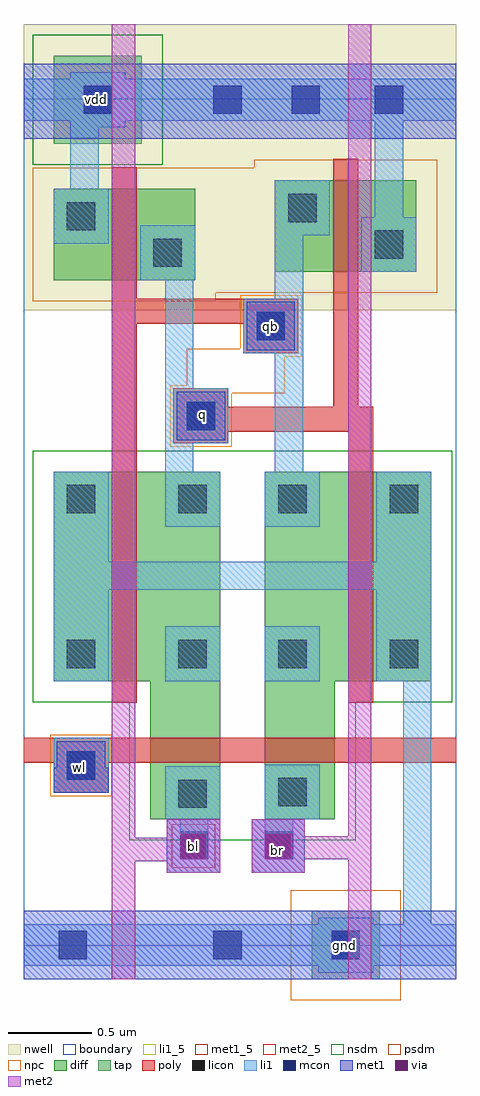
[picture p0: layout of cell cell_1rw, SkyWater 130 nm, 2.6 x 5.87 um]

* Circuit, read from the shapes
.subckt cell_1rw bl br gnd q qb vdd wl
XM1 q qb gnd gnd sky130_fd_pr__nfet_01v8 w=1.26 l=0.15
XM2 q wl bl gnd sky130_fd_pr__nfet_01v8 w=0.42 l=0.15
XM3 qb wl br gnd sky130_fd_pr__nfet_01v8 w=0.42 l=0.15
XM4 gnd q qb gnd sky130_fd_pr__nfet_01v8 w=1.26 l=0.15
XM5 q qb vdd vdd sky130_fd_pr__pfet_01v8 w=0.55 l=0.15
XM6 vdd q qb vdd sky130_fd_pr__pfet_01v8 w=0.55 l=0.15
.ends

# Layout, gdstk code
import gdstk
lib = gdstk.Library(unit=1e-6, precision=1e-09)
def R(c, l, rs):  # rectangles x0, y0, x1, y1
    for r in rs: c.add(gdstk.rectangle(r[:2], r[2:], *l))
nwell = (64, 20)
diff = (65, 20)
tap = (65, 44)
poly = (66, 20)
licon = (66, 44)
li1_5 = (67, 5)
li1 = (67, 20)
mcon = (67, 44)
met1_5 = (68, 5)
met1 = (68, 20)
via = (68, 44)
met2_5 = (69, 5)
met2 = (69, 20)
nsdm = (93, 44)
psdm = (94, 20)
npc = (95, 20)
boundary = (235, 4)

cell_1rw = lib.new_cell('cell_1rw')
R(cell_1rw, nwell, [(0,3.82,2.6,5.54)])
R(cell_1rw, diff, [(0.76,0.76,1.18,1.59), (1.45,0.76,1.87,1.59), (0.18,1.59,1.18,2.85), (1.45,1.59,2.45,2.85), (0.18,4,1.03,4.55), (1.51,4.05,2.36,4.6)])
R(cell_1rw, tap, [(1.73,-0.2,2.14,0.21), (0.18,4.82,0.71,5.35)])
R(cell_1rw, poly, [(0.18,0.92,0.51,1.1), (0,1.1,2.6,1.25), (0.53,1.46,0.68,3.74), (1.95,1.46,2.1,3.09), (0.9,3.02,1.23,3.09), (0.9,3.09,2.1,3.24), (0.9,3.24,1.23,3.35), (1.86,3.24,2.01,4.73), (1.32,3.56,1.65,3.74), (0.53,3.74,1.65,3.89), (0.53,3.89,0.68,4.68)])
R(cell_1rw, licon, [(1.85,-0.08,2.02,0.09), (0.93,0.83,1.1,1), (1.53,0.84,1.7,1.01), (0.26,1,0.43,1.17), (0.26,1.67,0.43,1.84), (0.93,1.67,1.1,1.84), (1.53,1.67,1.7,1.84), (2.2,1.67,2.37,1.84), (0.26,2.6,0.43,2.77), (0.93,2.6,1.1,2.77), (1.53,2.6,1.7,2.77), (2.2,2.6,2.37,2.77), (0.98,3.1,1.15,3.27), (1.4,3.64,1.57,3.81), (0.78,4.08,0.95,4.25), (2.11,4.13,2.28,4.3), (0.26,4.3,0.43,4.47), (1.59,4.35,1.76,4.52), (0.36,5,0.53,5.17)])
R(cell_1rw, li1_5, [(1.02,3.14,1.13,3.25), (1.43,3.67,1.54,3.78)])
R(cell_1rw, li1, [(1.77,-0.16,2.1,-0.12), (0,-0.12,2.6,0.13), (1.77,0.13,2.1,0.17), (2.28,0.13,2.45,1.59), (0.94,0.52,1.11,0.76), (1.45,0.52,1.62,0.76), (0.85,0.76,1.18,1.08), (1.45,0.76,1.78,1.09), (0.18,0.92,0.51,1.25), (0.18,1.59,0.51,2.14), (0.85,1.59,1.18,1.92), (1.45,1.59,1.78,1.92), (2.12,1.59,2.45,2.14), (0.18,2.14,2.45,2.31), (0.18,2.31,0.51,2.85), (2.12,2.31,2.45,2.85), (0.85,2.52,1.18,2.85), (1.45,2.52,1.78,2.85), (0.85,2.85,1.02,3.02), (1.51,2.85,1.68,3.56), (0.85,3.02,1.23,3.35), (0.85,3.35,1.02,4), (1.32,3.56,1.68,3.89), (1.51,3.89,1.68,4.27), (0.7,4,1.03,4.33), (2.03,4.05,2.36,4.38), (0.18,4.22,0.51,4.55), (1.51,4.27,1.84,4.6), (2.11,4.38,2.28,4.96), (0.28,4.55,0.45,4.92), (0.28,4.92,0.61,4.96), (0,4.96,2.6,5.21), (0.28,5.21,0.61,5.25)])
R(cell_1rw, mcon, [(0.21,-0.08,0.38,0.09), (1.14,-0.08,1.31,0.09), (1.85,-0.08,2.02,0.09), (0.94,0.52,1.11,0.69), (1.45,0.52,1.62,0.69), (0.26,1,0.43,1.17), (0.98,3.1,1.15,3.27), (1.4,3.64,1.57,3.81), (0.36,5,0.53,5.17), (1.14,5,1.31,5.17), (1.61,5,1.78,5.17), (2.11,5,2.28,5.17)])
R(cell_1rw, met1_5, [(1.87,-0.05,1.98,0.06), (0.28,1.02,0.39,1.13), (0.38,5.03,0.49,5.14)])
R(cell_1rw, met1, [(0,-0.2,2.6,0.21), (0.86,0.44,1.18,0.76), (1.37,0.44,1.69,0.76), (0.18,0.92,0.51,1.07), (0.2,1.07,0.49,1.23), (0.92,3.04,1.21,3.33), (1.34,3.58,1.63,3.87), (0,4.85,2.6,5.3)])
R(cell_1rw, via, [(0.945,0.525,1.095,0.675), (1.455,0.525,1.605,0.675)])
R(cell_1rw, met2_5, [(0.89,0.47,1.15,0.73), (1.47,0.52,1.58,0.63)])
R(cell_1rw, met2, [(0.53,-0.2,0.67,0.51), (1.95,-0.2,2.09,0.52), (0.86,0.44,1.18,0.51), (1.37,0.44,1.69,0.52), (0.53,0.51,1.18,0.65), (1.37,0.52,2.09,0.66), (0.53,0.65,0.67,5.54), (0.86,0.65,1.18,0.76), (1.37,0.66,1.69,0.76), (1.95,0.66,2.09,5.54)])
R(cell_1rw, nsdm, [(0.635,0.635,1.995,1.465), (0.055,1.465,2.575,2.975), (0.055,4.695,0.835,5.475)])
R(cell_1rw, psdm, [(1.605,-0.325,2.265,0.335), (0.055,3.875,1.155,3.925), (0.055,3.925,2.485,4.675), (1.385,4.675,2.485,4.725)])
R(cell_1rw, npc, [(0.16,0.9,0.53,1.27), (0.88,3,1.25,3.32), (0.88,3.32,1.57,3.37), (0.98,3.37,1.57,3.54), (0.98,3.54,1.67,3.59), (1.3,3.59,1.67,3.91)])
R(cell_1rw, boundary, [(0,0,2.6,5.09)])
cell_1rw.add(gdstk.Label('vdd', (0.435,5.085), layer=68, texttype=5))
cell_1rw.add(gdstk.Label('gnd', (1.925,0.005), layer=68, texttype=5))
cell_1rw.add(gdstk.Label('wl', (0.335,1.075), layer=68, texttype=5))
cell_1rw.add(gdstk.Label('q', (1.075,3.195), layer=67, texttype=5))
cell_1rw.add(gdstk.Label('qb', (1.485,3.725), layer=67, texttype=5))
cell_1rw.add(gdstk.Label('br', (1.525,0.575), layer=69, texttype=5))
cell_1rw.add(gdstk.Label('bl', (1.02,0.6), layer=69, texttype=5))

lib.write_gds('cell_1rw.gds')
